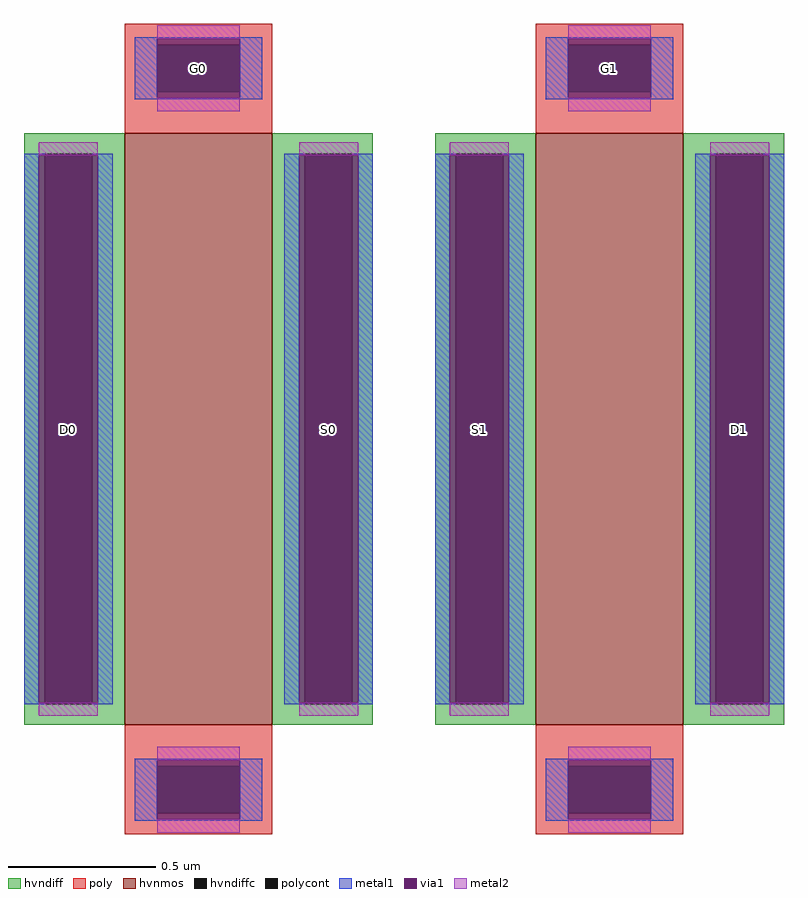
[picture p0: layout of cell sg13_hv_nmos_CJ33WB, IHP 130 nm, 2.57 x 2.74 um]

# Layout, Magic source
magic
tech ihp-sg13cmos5l
magscale 1 2
<< hvnmos >>
rect -189 -200 -89 200
rect 89 -200 189 200
<< hvndiff >>
rect -257 186 -189 200
rect -257 -186 -243 186
rect -211 -186 -189 186
rect -257 -200 -189 -186
rect -89 186 -21 200
rect -89 -186 -67 186
rect -35 -186 -21 186
rect -89 -200 -21 -186
rect 21 186 89 200
rect 21 -186 35 186
rect 67 -186 89 186
rect 21 -200 89 -186
rect 189 186 257 200
rect 189 -186 211 186
rect 243 -186 257 186
rect 189 -200 257 -186
<< hvndiffc >>
rect -243 -186 -211 186
rect -67 -186 -35 186
rect 35 -186 67 186
rect 211 -186 243 186
<< poly >>
rect -189 260 -89 274
rect -189 228 -167 260
rect -111 228 -89 260
rect -189 200 -89 228
rect 89 260 189 274
rect 89 228 111 260
rect 167 228 189 260
rect 89 200 189 228
rect -189 -228 -89 -200
rect -189 -260 -167 -228
rect -111 -260 -89 -228
rect -189 -274 -89 -260
rect 89 -228 189 -200
rect 89 -260 111 -228
rect 167 -260 189 -228
rect 89 -274 189 -260
<< polycont >>
rect -167 228 -111 260
rect 111 228 167 260
rect -167 -260 -111 -228
rect 111 -260 167 -228
<< metal1 >>
rect -182 264 -96 265
rect -182 224 -167 264
rect -111 224 -96 264
rect -182 223 -96 224
rect 96 264 182 265
rect 96 224 111 264
rect 167 224 182 264
rect 96 223 182 224
rect -257 185 -243 186
rect -211 185 -197 186
rect -257 -185 -247 185
rect -207 -185 -197 185
rect -257 -186 -243 -185
rect -211 -186 -197 -185
rect -81 185 -67 186
rect -35 185 -21 186
rect -81 -185 -71 185
rect -31 -185 -21 185
rect -81 -186 -67 -185
rect -35 -186 -21 -185
rect 21 185 35 186
rect 67 185 81 186
rect 21 -185 31 185
rect 71 -185 81 185
rect 21 -186 35 -185
rect 67 -186 81 -185
rect 197 185 211 186
rect 243 185 257 186
rect 197 -185 207 185
rect 247 -185 257 185
rect 197 -186 211 -185
rect 243 -186 257 -185
rect -182 -224 -96 -223
rect -182 -264 -167 -224
rect -111 -264 -96 -224
rect -182 -265 -96 -264
rect 96 -224 182 -223
rect 96 -264 111 -224
rect 167 -264 182 -224
rect 96 -265 182 -264
<< via1 >>
rect -167 260 -111 264
rect -167 228 -111 260
rect -167 224 -111 228
rect 111 260 167 264
rect 111 228 167 260
rect 111 224 167 228
rect -247 -185 -243 185
rect -243 -185 -211 185
rect -211 -185 -207 185
rect -71 -185 -67 185
rect -67 -185 -35 185
rect -35 -185 -31 185
rect 31 -185 35 185
rect 35 -185 67 185
rect 67 -185 71 185
rect 207 -185 211 185
rect 211 -185 243 185
rect 243 -185 247 185
rect -167 -228 -111 -224
rect -167 -260 -111 -228
rect -167 -264 -111 -260
rect 111 -228 167 -224
rect 111 -260 167 -228
rect 111 -264 167 -260
<< metal2 >>
rect -167 264 -111 273
rect -167 215 -111 224
rect 111 264 167 273
rect 111 215 167 224
rect -247 185 -207 194
rect -247 -194 -207 -185
rect -71 185 -31 194
rect -71 -194 -31 -185
rect 31 185 71 194
rect 31 -194 71 -185
rect 207 185 247 194
rect 207 -194 247 -185
rect -167 -224 -111 -215
rect -167 -273 -111 -264
rect 111 -224 167 -215
rect 111 -273 167 -264
<< labels >>
rlabel hvndiffc -227 0 -227 0 0 D0
port 1 nsew
rlabel hvndiffc -51 0 -51 0 0 S0
port 2 nsew
rlabel polycont -139 244 -139 244 0 G0
port 3 nsew
rlabel hvndiffc 227 0 227 0 0 D1
port 4 nsew
rlabel hvndiffc 51 0 51 0 0 S1
port 5 nsew
rlabel polycont 139 244 139 244 0 G1
port 6 nsew
<< properties >>
string gencell sg13_hv_nmos
string library sg13cmos5l
string parameters w 2 l 0.5 m 1 ng 2 diffcov 100 polycov 100 guard 0 glc 1 grc 1 gtc 1 gbc 1 tbcov 100 rlcov 100 topc 1 botc 1 poverlap 0 doverlap 0 lmin 0.45 wmin 0.15 class mosfet compatible {sg13_lv_nmos sg13_hv_nmos} full_metal 1 conn_gates 0 gate_ring 0 doports 1 viasrc 100 viadrn 100 viagate 100 ccols 1 viagb 0 viagr 0 viagl 0 viagt 0
<< end >>
